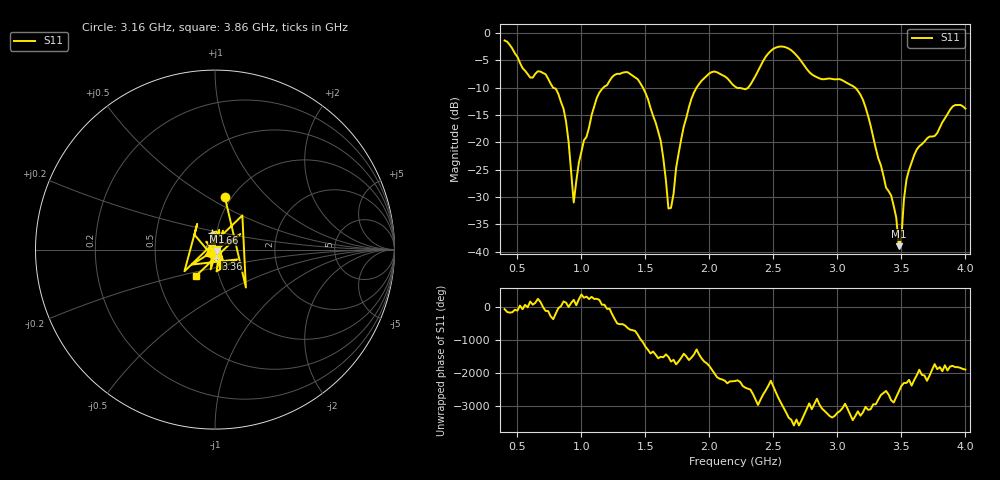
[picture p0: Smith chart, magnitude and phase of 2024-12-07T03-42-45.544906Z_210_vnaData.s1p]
!Created with skrf (http://scikit-rf.org).
# Hz S RI R 50.0
!freq ReS11 ImS11
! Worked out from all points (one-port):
!   181 points, 400 MHz to 4 GHz, reference 50 ohm
!   lowest |S11| = -39.0 dB at 3.48 GHz (marker M1), VSWR 1.02, Z = 50.9 - j0.716 ohm
!   |S11| at or under -10 dB: 778.6 MHz to 1.172 GHz (393.5 MHz wide, 40.3 % of centre); 1.481 GHz to 1.9 GHz (419.3 MHz wide, 24.8 % of centre); 3.139 GHz to end of sweep (the widest 3 of 4)
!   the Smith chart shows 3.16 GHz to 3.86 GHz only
!   S11 on the Smith chart (normalised r, x): 3.16 GHz: 0.93, +0.60; 3.36 GHz: 1.00, -0.10; 3.66 GHz: 0.95, +0.18; 3.86 GHz: 0.78, -0.24
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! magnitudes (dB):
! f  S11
! 400 MHz  -1.4
! 600 MHz  -8.2
! 720 MHz  -7.5
! 860 MHz  -13.8
! 900 MHz  -19.9
! 940 MHz  -31.0
! 980 MHz  -23.7
! 1.12 GHz  -11.9
! 1.3 GHz  -7.5
! 1.52 GHz  -12.1
! 1.62 GHz  -19.8
! 1.68 GHz  -32.1
! 1.76 GHz  -22.0
! 1.86 GHz  -12.0
! 1.94 GHz  -8.7
! 2.2 GHz  -9.8
! 2.3 GHz  -10.1
! 2.5 GHz  -2.9
! 2.66 GHz  -3.6
! 3.1 GHz  -9.5
! 3.16 GHz  -10.6
! 3.36 GHz  -26.1
! 3.44 GHz  -31.6
! 3.48 GHz  -39.0
! 3.56 GHz  -25.0
! 3.66 GHz  -20.3
! 3.86 GHz  -14.9
! 4 GHz  -13.8
